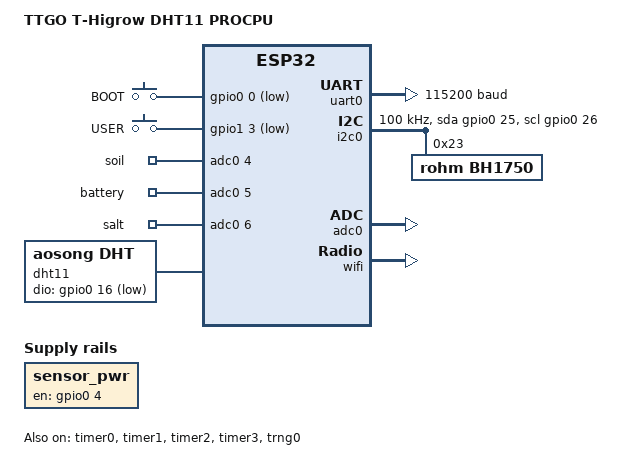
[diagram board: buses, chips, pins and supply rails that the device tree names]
/*
 * Copyright The Zephyr Project Contributors
 *
 * SPDX-License-Identifier: Apache-2.0
 */
/dts-v1/;

#include <espressif/esp32/esp32.dtsi>
#include <espressif/partitions_0x1000_amp.dtsi>
#include "ttgo_t_higrow-pinctrl.dtsi"
#include <zephyr/dt-bindings/input/input-event-codes.h>

/ {
	compatible = "lilygo,ttgo-t-higrow";
	model = "TTGO T-Higrow DHT11 PROCPU";

	aliases {
		uart-0 = &uart0;
		i2c-0 = &i2c0;
		sw0 = &user_button;
		watchdog0 = &wdt0;
		dht0 = &dht11;
	};

	chosen {
		zephyr,sram = &sram1;
		zephyr,console = &uart0;
		zephyr,shell-uart = &uart0;
		zephyr,flash = &flash0;
		zephyr,code-partition = &slot0_partition;
	};

	buttons {
		compatible = "gpio-keys";

		boot_button: button_boot {
			gpios = <&gpio0 0 (GPIO_PULL_UP | GPIO_ACTIVE_LOW)>;
			label = "BOOT";
			zephyr,code = <INPUT_KEY_0>;
		};

		/* USER / Wake button on GPIO35 (input-only) */
		user_button: button_user {
			gpios = <&gpio1 3 (GPIO_PULL_UP | GPIO_ACTIVE_LOW)>;
			label = "USER";
			zephyr,code = <INPUT_KEY_1>;
		};
	};

	/*
	 * POWER_CTRL (GPIO4) gates sensor rail power (DHT11, BH1750, soil front-end).
	 * LilyGO firmware drives this high before reading sensors.
	 */
	sensor_pwr: regulator-sensor-pwr {
		compatible = "regulator-fixed";
		regulator-name = "sensor-pwr";
		enable-gpios = <&gpio0 4 GPIO_ACTIVE_HIGH>;
		regulator-boot-on;
	};

	/*
	 * ADC1 channels (Zephyr adc0 / unit 1):
	 *   CH4 GPIO32 soil moisture, CH5 GPIO33 battery, CH6 GPIO34 salt/fertility
	 */
	zephyr,user {
		io-channels = <&adc0 4>, <&adc0 5>, <&adc0 6>;
		io-channel-names = "soil", "battery", "salt";
	};

	dht11: dht11 {
		compatible = "aosong,dht";
		dio-gpios = <&gpio0 16 (GPIO_PULL_UP | GPIO_ACTIVE_LOW)>;
		status = "okay";
	};
};

/* Product / Arduino: 4MB flash (schematic also lists W25Q64 — confirm on HW) */
&flash0 {
	reg = <0x0 DT_SIZE_M(4)>;
	ranges = <0x0 0x0 DT_SIZE_M(4)>;
};

&uart0 {
	current-speed = <115200>;
	pinctrl-0 = <&uart0_default>;
	pinctrl-names = "default";
	status = "okay";
};

/*
 * Flash SPI uses GPIO6-11. Do not reserve GPIO16/17: DHT11 uses GPIO16.
 */
&gpio0 {
	gpio-reserved-ranges = <6 6>, <20 1>, <24 1>, <28 4>;
	status = "okay";
};

&gpio1 {
	status = "okay";
};

&i2c0 {
	clock-frequency = <I2C_BITRATE_STANDARD>;
	sda-gpios = <&gpio0 25 GPIO_OPEN_DRAIN>;
	scl-gpios = <&gpio0 26 GPIO_OPEN_DRAIN>;
	pinctrl-0 = <&i2c0_default>;
	pinctrl-names = "default";
	status = "okay";

	bh1750: bh1750@23 {
		compatible = "rohm,bh1750";
		reg = <0x23>;
		status = "okay";
	};
};

&adc0 {
	status = "okay";
};

&timer0 {
	status = "okay";
};

&timer1 {
	status = "okay";
};

&timer2 {
	status = "okay";
};

&timer3 {
	status = "okay";
};

&trng0 {
	status = "okay";
};

&wifi {
	status = "okay";
};
